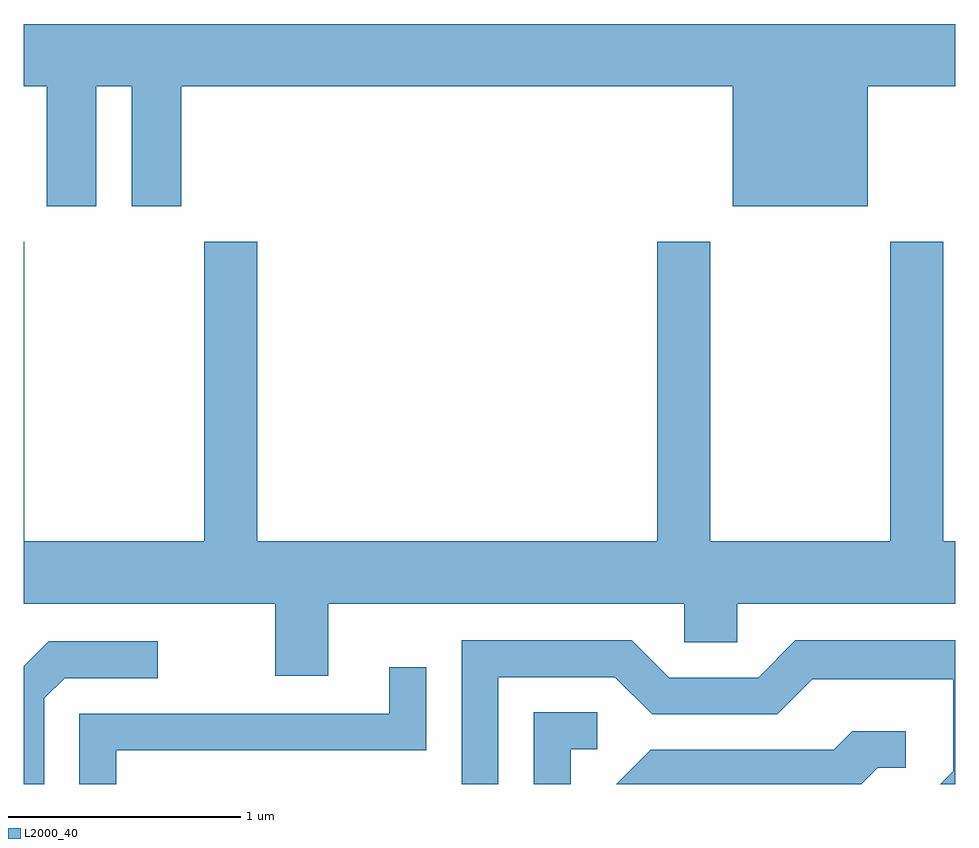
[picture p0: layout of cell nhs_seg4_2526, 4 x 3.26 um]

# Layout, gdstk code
import gdstk
lib = gdstk.Library(unit=1e-6, precision=1e-09)
def P(c, l, *ps):  # polygons
    for p in ps: c.add(gdstk.Polygon(p, *l))
L2000_40 = (2000, 40)

nhs_seg4_2526 = lib.new_cell('nhs_seg4_2526')
P(nhs_seg4_2526, L2000_40, [(259.924,1276.976),(260.076,1276.976),(260.076,1276.461),(260.289,1276.461),(260.289,1276.976),(262.656,1276.976),(262.656,1276.461),(263.234,1276.461),(263.234,1276.976),(263.611,1276.976),(263.611,1277.244),(259.611,1277.244),(259.611,1276.976),(259.711,1276.976),(259.711,1276.461),(259.924,1276.461)],
  [(260.919,1274.756),(262.446,1274.756),(262.446,1274.591),(262.674,1274.591),(262.674,1274.756),(263.611,1274.756),(263.611,1275.024),(263.559,1275.024),(263.559,1276.309),(263.331,1276.309),(263.331,1275.024),(262.559,1275.024),(262.559,1276.309),(262.331,1276.309),(262.331,1275.024),(260.614,1275.024),(260.614,1276.309),(260.386,1276.309),(260.386,1275.024),(259.614,1275.024),(259.614,1276.309),(259.611,1276.309),(259.611,1274.756),(260.691,1274.756),(260.691,1274.446),(260.919,1274.446)],
  [(261.649,1274.441),(262.149,1274.441),(262.309,1274.281),(262.847,1274.281),(262.997,1274.431),(263.601,1274.431),(263.601,1274.037),(263.546,1273.982),(263.611,1273.982),(263.611,1274.599),(262.924,1274.599),(262.764,1274.439),(262.382,1274.439),(262.222,1274.599),(261.491,1274.599),(261.491,1273.982),(261.649,1273.982)],
  [(259.699,1274.349),(259.787,1274.436),(260.188,1274.436),(260.188,1274.594),(259.719,1274.594),(259.611,1274.487),(259.611,1273.982),(259.699,1273.982)],
  [(260.009,1274.126),(261.339,1274.126),(261.339,1274.483),(261.181,1274.483),(261.181,1274.284),(259.851,1274.284),(259.851,1273.982),(260.009,1273.982)],
  [(261.959,1274.131),(262.073,1274.131),(262.073,1274.289),(261.801,1274.289),(261.801,1273.982),(261.959,1273.982)],
  [(263.277,1274.051),(263.398,1274.051),(263.398,1274.209),(263.169,1274.209),(263.089,1274.129),(262.304,1274.129),(262.156,1273.982),(263.207,1273.982)])

lib.write_gds('nhs_seg4_2526.gds')
